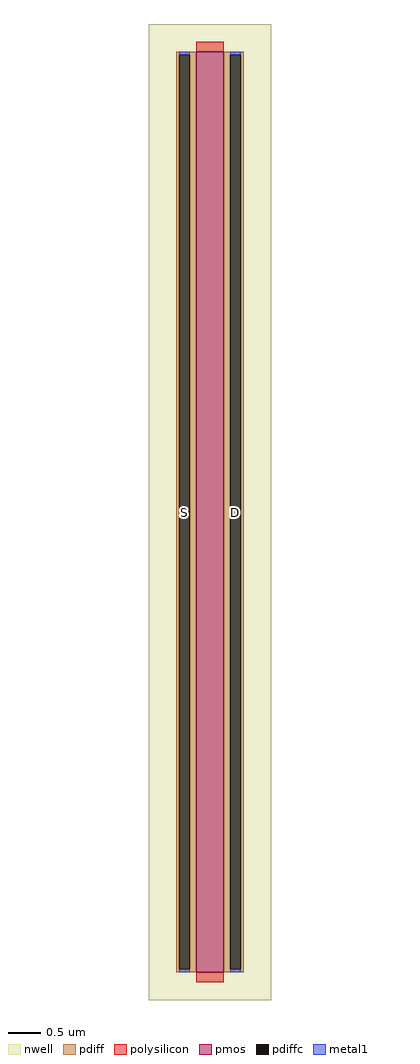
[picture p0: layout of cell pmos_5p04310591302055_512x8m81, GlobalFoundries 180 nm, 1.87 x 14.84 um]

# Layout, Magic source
magic
tech gf180mcuD
magscale 1 10
<< nwell >>
rect -145 -84 229 2884
<< pmos >>
rect 0 0 84 2800
<< pdiff >>
rect -61 2790 0 2800
rect -61 9 -52 2790
rect -20 9 0 2790
rect -61 0 0 9
rect 84 2790 145 2800
rect 84 9 104 2790
rect 136 9 145 2790
rect 84 0 145 9
<< pdiffc >>
rect -52 9 -20 2790
rect 104 9 136 2790
<< polysilicon >>
rect 0 2800 84 2830
rect 0 -30 84 0
<< metal1 >>
rect -52 2790 -20 2800
rect -52 0 -20 9
rect 104 2790 136 2800
rect 104 0 136 9
<< labels >>
flabel pdiffc -36 1400 -36 1400 0 FreeSans 280 0 0 0 S
flabel pdiffc 120 1400 120 1400 0 FreeSans 280 0 0 0 D
<< end >>
